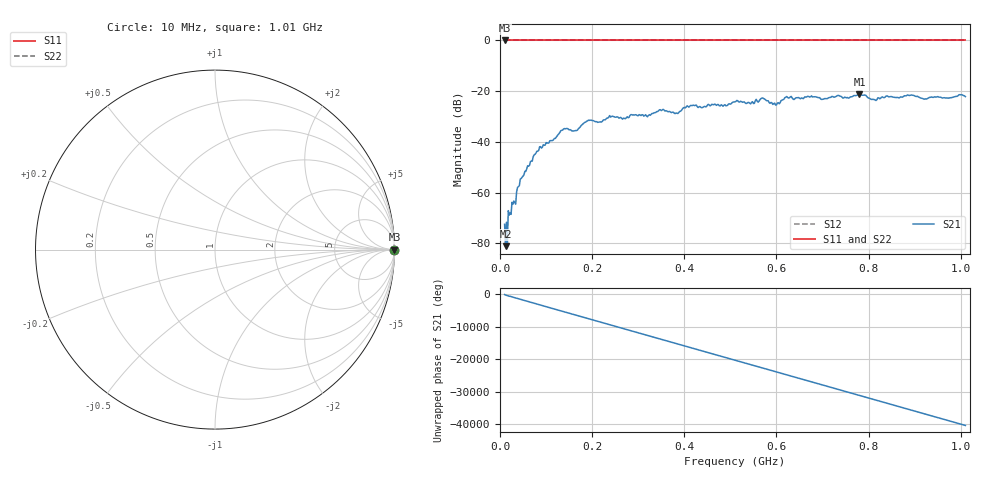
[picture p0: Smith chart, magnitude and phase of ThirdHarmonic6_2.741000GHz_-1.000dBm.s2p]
! 8/17/2025 6:48:11 AM
! C:\ANRITSUVNA\TEMP\TEMP.S2P
! CHANNEL.1
! TR.MEASUREMENT
! RAW.DATA
! RF.CORRECTION.OFF
! AVERAGING.OFF
! IF.BANDWIDTH: 5KHZ
! SWEEPTYPE:  FREQ.SWEEP(Linear)
! Reference Plane Port Info
! PORT:  PORT1  PORT2
! DISTANCE:  0  m  0  m
! TIME:  0  s  0  s
! PHASE.OFFSET:  0  deg.  0  deg.
! LOSS:  0  dB  0  dB
! REF.LOSS:  0  dB  0  dB
! REF.FREQ:  0  Hz  0  Hz
! Power Info
! POWER:  -20  dBm  -20  dBm
! EFF.POWER:  -20  dBm  -20  dBm
! SOURCE.ATTEN:  0  dB  0  dB
! TEST.ATTEN:  0  dB  0  dB
# GHZ S RI R 50.0
! FREQ.GHZ  S11RE  S11IM  S21RE  S21IM  S12RE  S12IM  S22RE  S22IM
!; PortSelection: Port_12
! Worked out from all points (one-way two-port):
!   501 points, 10 MHz to 1.01 GHz, reference 50 ohm
!   highest |S21| = -21.19 dB at 780 MHz (marker M1); lowest = -81.1 dB at 12 MHz (marker M2)
!   lowest |S11| = 0.0 dB at 10 MHz (marker M3)
!   |S11| at or under -10 dB: nowhere
!   |S22| runs from 0.0 to 0.0 dB; largest |S21 - S12| = 1.1
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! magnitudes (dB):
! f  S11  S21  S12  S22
! 10 MHz  0.0  -72.4  0.0  0.0
! 12 MHz  0.0  -81.1  0.0  0.0
! 20 MHz  0.0  -68.8  0.0  0.0
! 22 MHz  0.0  -67.9  0.0  0.0
! 32 MHz  0.0  -63.9  0.0  0.0
! 42 MHz  0.0  -57.2  0.0  0.0
! 76 MHz  0.0  -44.9  0.0  0.0
! 136 MHz  0.0  -35.3  0.0  0.0
! 164 MHz  0.0  -35.5  0.0  0.0
! 178 MHz  0.0  -33.3  0.0  0.0
! 344 MHz  0.0  -27.7  0.0  0.0
! 382 MHz  0.0  -28.6  0.0  0.0
! 416 MHz  0.0  -25.7  0.0  0.0
! 510 MHz  0.0  -24.2  0.0  0.0
! 570 MHz  0.0  -22.6  0.0  0.0
! 596 MHz  0.0  -24.7  0.0  0.0
! 622 MHz  0.0  -22.1  0.0  0.0
! 678 MHz  0.0  -22.3  0.0  0.0
! 780 MHz  0.0  -21.2  0.0  0.0
! 814 MHz  0.0  -23.5  0.0  0.0
! 844 MHz  0.0  -22.2  0.0  0.0
! 1.01 GHz  0.0  -22.1  0.0  0.0
